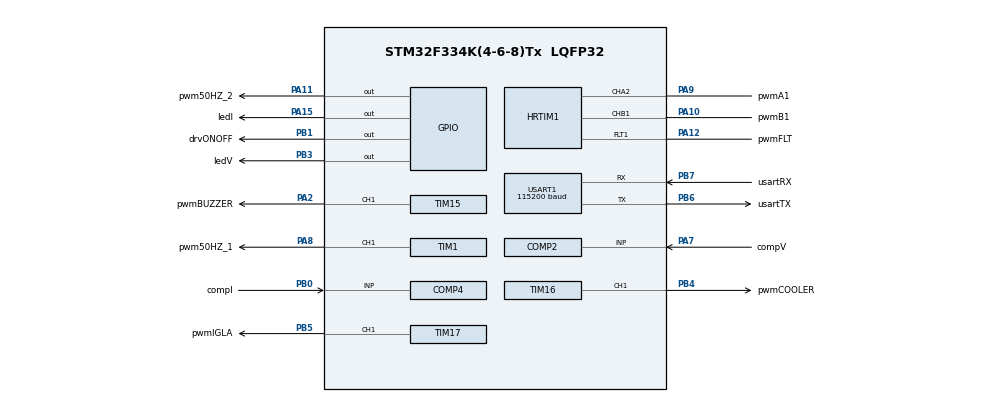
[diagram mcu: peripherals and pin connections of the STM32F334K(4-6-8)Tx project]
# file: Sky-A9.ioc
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COMP2.InvertingInput=COMP_INVERTINGINPUT_DAC1_CH2
COMP4.InvertingInput=COMP_INVERTINGINPUT_DAC1_CH2
DAC1.DAC_Trigger2=DAC_TRIGGER_HRTIM1_DACTRG1
DAC1.WaveGeneration2=DISABLE
DAC2.DAC_Trigger=DAC_TRIGGER_HRTIM1_DACTRG3
Dma.DAC1_CH2.0.Direction=DMA_MEMORY_TO_PERIPH
Dma.DAC1_CH2.0.Instance=DMA1_Channel4
Dma.DAC1_CH2.0.MemDataAlignment=DMA_MDATAALIGN_HALFWORD
Dma.DAC1_CH2.0.MemInc=DMA_MINC_ENABLE
Dma.DAC1_CH2.0.Mode=DMA_CIRCULAR
Dma.DAC1_CH2.0.PeriphDataAlignment=DMA_PDATAALIGN_HALFWORD
Dma.DAC1_CH2.0.PeriphInc=DMA_PINC_DISABLE
Dma.DAC1_CH2.0.Priority=DMA_PRIORITY_HIGH
Dma.DAC2_CH1.1.Direction=DMA_MEMORY_TO_PERIPH
Dma.DAC2_CH1.1.Instance=DMA1_Channel5
Dma.DAC2_CH1.1.MemDataAlignment=DMA_MDATAALIGN_HALFWORD
Dma.DAC2_CH1.1.MemInc=DMA_MINC_ENABLE
Dma.DAC2_CH1.1.Mode=DMA_CIRCULAR
Dma.DAC2_CH1.1.PeriphDataAlignment=DMA_PDATAALIGN_HALFWORD
Dma.DAC2_CH1.1.PeriphInc=DMA_PINC_DISABLE
Dma.DAC2_CH1.1.Priority=DMA_PRIORITY_MEDIUM
Dma.Request0=DAC1_CH2
Dma.Request1=DAC2_CH1
HRTIM1.CaptureUnit1-No_output_TD=HRTIM_CAPTUREUNIT_1
HRTIM1.CaptureUnit1-No_output_TE=HRTIM_CAPTUREUNIT_1
HRTIM1.CaptureUnit2-No_output_TD=__NULL
HRTIM1.CompareUnit1-MasterTimer=HRTIM_COMPAREUNIT_1
HRTIM1.CompareUnit1-No_output_TC=__NULL
HRTIM1.CompareUnit1-No_output_TD=HRTIM_COMPAREUNIT_1
HRTIM1.CompareUnit1-No_output_TE=HRTIM_COMPAREUNIT_1
HRTIM1.CompareUnit1-Output_TA2=HRTIM_COMPAREUNIT_1
HRTIM1.CompareUnit1-Output_TB1=HRTIM_COMPAREUNIT_1
HRTIM1.CompareUnit2-MasterTimer=HRTIM_COMPAREUNIT_2
HRTIM1.CompareUnit2-No_output_TC=HRTIM_COMPAREUNIT_2
HRTIM1.CompareUnit2-No_output_TD=HRTIM_COMPAREUNIT_2
HRTIM1.CompareUnit2-No_output_TE=HRTIM_COMPAREUNIT_2
HRTIM1.CompareUnit2-Output_TA2=HRTIM_COMPAREUNIT_2
HRTIM1.CompareUnit3-MasterTimer=__NULL
HRTIM1.CompareUnit3-No_output_TD=__NULL
HRTIM1.CompareUnit3-Output_TA2=HRTIM_COMPAREUNIT_3
HRTIM1.CompareUnit3-Output_TB1=HRTIM_COMPAREUNIT_3
HRTIM1.CompareUnit4-MasterTimer=__NULL
HRTIM1.CompareUnit4-No_output_TD=HRTIM_COMPAREUNIT_4
HRTIM1.CompareUnit4-No_output_TE=HRTIM_COMPAREUNIT_4
HRTIM1.CompareUnit4-Output_TA2=HRTIM_COMPAREUNIT_4
HRTIM1.CompareUnit4-Output_TB1=HRTIM_COMPAREUNIT_4
HRTIM1.CompareValue1-MasterTimer=23040
HRTIM1.CompareValue1-No_output_TD=9216
HRTIM1.CompareValue1-No_output_TE=9216
HRTIM1.CompareValue1-Output_TA2=4608
HRTIM1.CompareValue1-Output_TB1=4608
HRTIM1.CompareValue2-MasterTimer=46080
HRTIM1.CompareValue2-No_output_TC=2304
HRTIM1.CompareValue2-No_output_TD=13824
HRTIM1.CompareValue2-No_output_TE=13824
HRTIM1.CompareValue2-Output_TA2=23040
HRTIM1.CompareValue3-Output_TA2=5760
HRTIM1.CompareValue3-Output_TB1=5760
HRTIM1.CompareValue4-No_output_TD=18432
HRTIM1.CompareValue4-No_output_TE=18432
HRTIM1.CompareValue4-Output_TA2=23040
HRTIM1.CompareValue4-Output_TB1=23040
HRTIM1.DACSynchro-No_output_TC=HRTIM_DACSYNC_DACTRIGOUT_1
HRTIM1.Event1-Output_TA2=HRTIM_EVENT_1
HRTIM1.Event1-Output_TB1=HRTIM_EVENT_1
HRTIM1.Event2-Output_TA2=HRTIM_EVENT_2
HRTIM1.Event2-Output_TB1=HRTIM_EVENT_2
HRTIM1.Event_EEV1=HRTIM_EVENT_1
HRTIM1.Event_EEV2=HRTIM_EVENT_2
HRTIM1.FastMode_EEV1=HRTIM_EVENTFASTMODE_ENABLE
HRTIM1.FastMode_EEV2=HRTIM_EVENTFASTMODE_ENABLE
HRTIM1.FaultEnable_Source1-No_output_TD=HRTIM_TIMFAULTENABLE_FAULT1
HRTIM1.FaultEnable_Source1-No_output_TE=HRTIM_TIMFAULTENABLE_FAULT1
HRTIM1.FaultEnable_Source1-Output_TA2=HRTIM_TIMFAULTENABLE_FAULT1
HRTIM1.FaultEnable_Source1-Output_TB1=HRTIM_TIMFAULTENABLE_FAULT1
HRTIM1.FaultLevel1-Output_TB1=HRTIM_OUTPUTFAULTLEVEL_INACTIVE
HRTIM1.FaultLevel2-Output_TA2=HRTIM_OUTPUTFAULTLEVEL_INACTIVE
HRTIM1.Filter1-Output_TA2=HRTIM_TIMEVENTFILTER_BLANKINGCMP3
HRTIM1.Filter1-Output_TB1=HRTIM_TIMEVENTFILTER_BLANKINGCMP3
HRTIM1.Filter2-Output_TA2=HRTIM_TIMEVENTFILTER_BLANKINGCMP3
HRTIM1.Filter2-Output_TB1=HRTIM_TIMEVENTFILTER_BLANKINGCMP3
HRTIM1.Filter_FaultLine1=HRTIM_FAULTFILTER_15
HRTIM1.HRTIMInterruptResquests1=HRTIM_IT_FLT1
HRTIM1.HRTIMInterruptResquests2=HRTIM_IT_SYSFLT
HRTIM1.InterruptRequests1-No_output_TD=HRTIM_TIM_IT_REP
HRTIM1.InterruptRequests1-Output_TB1=HRTIM_TIM_IT_CMP4
HRTIM1.InterruptRequests1_Master=HRTIM_MASTER_IT_MREP
HRTIM1.ModeTimeBase-No_output_TC=HRTIM_MODE_SINGLESHOT_RETRIGGERABLE
HRTIM1.ModeTimeBase-No_output_TD=HRTIM_MODE_SINGLESHOT_RETRIGGERABLE
HRTIM1.ModeTimeBase-No_output_TE=HRTIM_MODE_SINGLESHOT_RETRIGGERABLE
HRTIM1.ModeTimeBase-Output_TA2=HRTIM_MODE_SINGLESHOT_RETRIGGERABLE
HRTIM1.ModeTimeBase-Output_TB1=HRTIM_MODE_SINGLESHOT_RETRIGGERABLE
HRTIM1.NumberFaultEnable-No_output_TD=1
HRTIM1.NumberFaultEnable-No_output_TE=1
HRTIM1.NumberFaultEnable-Output_TA2=1
HRTIM1.NumberFaultEnable-Output_TB1=1
HRTIM1.NumberInterruptRequests-No_output_TC=0
HRTIM1.NumberInterruptRequests-No_output_TD=1
HRTIM1.NumberInterruptRequests-Output_TB1=1
HRTIM1.NumberInterruptRequests_Master-MasterTimer=1
HRTIM1.NumberResetSource1-Output_TB1=8
HRTIM1.NumberResetSource2-Output_TA2=8
HRTIM1.NumberResetTrigger-No_output_TC=11
HRTIM1.NumberResetTrigger-No_output_TD=1
HRTIM1.NumberResetTrigger-No_output_TE=1
HRTIM1.NumberResetTrigger-Output_TA2=1
HRTIM1.NumberResetTrigger-Output_TB1=1
HRTIM1.NumberSetSource1-Output_TB1=1
HRTIM1.NumberSetSource2-Output_TA2=1
HRTIM1.NumberTriggerSource_Captureconfig1-No_output_TD=1
HRTIM1.NumberTriggerSource_Captureconfig1-No_output_TE=2
HRTIM1.NumberUpdateTrigger-No_output_TC=1
HRTIM1.NumberUpdateTrigger-No_output_TD=1
HRTIM1.NumberUpdateTrigger-No_output_TE=1
HRTIM1.NumberUpdateTrigger-Output_TA2=1
HRTIM1.NumberUpdateTrigger-Output_TB1=1
HRTIM1.Periode_MASTER=46080
HRTIM1.Periode_TA=23040
HRTIM1.Periode_TB=23040
HRTIM1.Periode_TC=4608
HRTIM1.Periode_TD=46080
HRTIM1.Periode_TE=46080
HRTIM1.PreloadEnable-MasterTimer=HRTIM_PRELOAD_DISABLED
HRTIM1.PreloadEnable-No_output_TC=HRTIM_PRELOAD_ENABLED
HRTIM1.PreloadEnable-No_output_TD=HRTIM_PRELOAD_ENABLED
HRTIM1.PreloadEnable-No_output_TE=HRTIM_PRELOAD_ENABLED
HRTIM1.PrescalerRatio_MASTER=HRTIM_PRESCALERRATIO_MUL16
HRTIM1.PrescalerRatio_TA=HRTIM_PRESCALERRATIO_MUL16
HRTIM1.PrescalerRatio_TB=HRTIM_PRESCALERRATIO_MUL16
HRTIM1.PrescalerRatio_TC=HRTIM_PRESCALERRATIO_MUL16
HRTIM1.PrescalerRatio_TD=HRTIM_PRESCALERRATIO_MUL16
HRTIM1.PrescalerRatio_TE=HRTIM_PRESCALERRATIO_MUL16
HRTIM1.RepetitionCounter-No_output_TC=0
HRTIM1.RepetitionUpdate-MasterTimer=HRTIM_UPDATEONREPETITION_ENABLED
HRTIM1.RepetitionUpdate-No_output_TC=HRTIM_UPDATEONREPETITION_ENABLED
HRTIM1.RepetitionUpdate-No_output_TD=HRTIM_UPDATEONREPETITION_ENABLED
HRTIM1.RepetitionUpdate-No_output_TE=HRTIM_UPDATEONREPETITION_ENABLED
HRTIM1.RepetitionUpdate-Output_TA2=HRTIM_UPDATEONREPETITION_ENABLED
HRTIM1.RepetitionUpdate-Output_TB1=HRTIM_UPDATEONREPETITION_ENABLED
HRTIM1.ResetOutput1_Source1-Output_TB1=HRTIM_OUTPUTRESET_TIMCMP4
HRTIM1.ResetOutput1_Source2-Output_TB1=HRTIM_OUTPUTRESET_TIMPER
HRTIM1.ResetOutput1_Source3-Output_TB1=HRTIM_OUTPUTRESET_UPDATE
HRTIM1.ResetOutput1_Source4-Output_TB1=HRTIM_OUTPUTRESET_MASTERPER
HRTIM1.ResetOutput1_Source5-Output_TB1=HRTIM_OUTPUTRESET_EEV_1
HRTIM1.ResetOutput1_Source6-Output_TB1=HRTIM_OUTPUTRESET_MASTERCMP1
HRTIM1.ResetOutput1_Source7-Output_TB1=HRTIM_OUTPUTRESET_MASTERCMP2
HRTIM1.ResetOutput1_Source8-Output_TB1=HRTIM_OUTPUTRESET_EEV_2
HRTIM1.ResetOutput2_Source1-Output_TA2=HRTIM_OUTPUTRESET_TIMCMP4
HRTIM1.ResetOutput2_Source2-Output_TA2=HRTIM_OUTPUTRESET_TIMPER
HRTIM1.ResetOutput2_Source3-Output_TA2=HRTIM_OUTPUTRESET_UPDATE
HRTIM1.ResetOutput2_Source4-Output_TA2=HRTIM_OUTPUTRESET_MASTERPER
HRTIM1.ResetOutput2_Source5-Output_TA2=HRTIM_OUTPUTRESET_EEV_1
HRTIM1.ResetOutput2_Source6-Output_TA2=HRTIM_OUTPUTRESET_MASTERCMP2
HRTIM1.ResetOutput2_Source7-Output_TA2=HRTIM_OUTPUTRESET_MASTERCMP1
HRTIM1.ResetOutput2_Source8-Output_TA2=HRTIM_OUTPUTRESET_EEV_2
HRTIM1.ResetTrigger1-No_output_TC=HRTIM_TIMRESETTRIGGER_OTHER3_CMP1
HRTIM1.ResetTrigger1-No_output_TD=HRTIM_TIMRESETTRIGGER_MASTER_PER
HRTIM1.ResetTrigger1-No_output_TE=HRTIM_TIMRESETTRIGGER_MASTER_CMP1
HRTIM1.ResetTrigger1-Output_TA2=HRTIM_TIMRESETTRIGGER_MASTER_CMP1
HRTIM1.ResetTrigger1-Output_TB1=HRTIM_TIMRESETTRIGGER_MASTER_PER
HRTIM1.ResetTrigger10-No_output_TC=HRTIM_TIMRESETTRIGGER_OTHER4_CMP4
HRTIM1.ResetTrigger11-No_output_TC=HRTIM_TIMRESETTRIGGER_CMP2
HRTIM1.ResetTrigger2-No_output_TC=HRTIM_TIMRESETTRIGGER_OTHER3_CMP2
HRTIM1.ResetTrigger3-No_output_TC=HRTIM_TIMRESETTRIGGER_OTHER3_CMP4
HRTIM1.ResetTrigger4-No_output_TC=HRTIM_TIMRESETTRIGGER_OTHER2_CMP1
HRTIM1.ResetTrigger5-No_output_TC=HRTIM_TIMRESETTRIGGER_OTHER2_CMP4
HRTIM1.ResetTrigger6-No_output_TC=HRTIM_TIMRESETTRIGGER_OTHER1_CMP1
HRTIM1.ResetTrigger7-No_output_TC=HRTIM_TIMRESETTRIGGER_OTHER1_CMP4
HRTIM1.ResetTrigger8-No_output_TC=HRTIM_TIMRESETTRIGGER_OTHER4_CMP1
HRTIM1.ResetTrigger9-No_output_TC=HRTIM_TIMRESETTRIGGER_OTHER4_CMP2
HRTIM1.ResetUpdate-No_output_TC=HRTIM_TIMUPDATEONRESET_ENABLED
HRTIM1.ResetUpdate-No_output_TD=HRTIM_TIMUPDATEONRESET_ENABLED
HRTIM1.ResetUpdate-No_output_TE=HRTIM_TIMUPDATEONRESET_ENABLED
HRTIM1.ResetUpdate-Output_TA2=HRTIM_TIMUPDATEONRESET_ENABLED
HRTIM1.ResetUpdate-Output_TB1=HRTIM_TIMUPDATEONRESET_ENABLED
HRTIM1.SetOutput1_Source1-Output_TB1=HRTIM_OUTPUTSET_TIMCMP1
HRTIM1.SetOutput2_Source1-Output_TA2=HRTIM_OUTPUTSET_TIMCMP1
HRTIM1.TriggerCapture1_Source1-No_output_TD=HRTIM_CAPTURETRIGGER_TB1_RESET
HRTIM1.TriggerCapture1_Source1-No_output_TE=HRTIM_CAPTURETRIGGER_EEV_1
HRTIM1.TriggerCapture1_Source2-No_output_TD=HRTIM_CAPTURETRIGGER_NONE
HRTIM1.TriggerCapture1_Source2-No_output_TE=HRTIM_CAPTURETRIGGER_TIMERA_CMP2
HRTIM1.UpdateTrigger1-No_output_TC=HRTIM_TIMUPDATETRIGGER_TIMER_C
HRTIM1.UpdateTrigger1-No_output_TD=HRTIM_TIMUPDATETRIGGER_MASTER
HRTIM1.UpdateTrigger1-No_output_TE=HRTIM_TIMUPDATETRIGGER_MASTER
HRTIM1.UpdateTrigger1-Output_TA2=HRTIM_TIMUPDATETRIGGER_MASTER
HRTIM1.UpdateTrigger1-Output_TB1=HRTIM_TIMUPDATETRIGGER_MASTER
IWDG.Prescaler=IWDG_PRESCALER_256
Mcu.Family=STM32F3
Mcu.Name=STM32F334K(4-6-8)Tx
Mcu.Package=LQFP32
NVIC.DMA1_Channel4_IRQn=true\:4\:0\:true\:true\:true\:4\:false\:true
NVIC.DMA1_Channel5_IRQn=true\:4\:0\:true\:true\:true\:5\:false\:true
NVIC.HRTIM1_FLT_IRQn=true\:6\:0\:true\:true\:true\:2\:true\:true
NVIC.HRTIM1_Master_IRQn=true\:3\:0\:true\:true\:true\:1\:true\:true
NVIC.HRTIM1_TIMB_IRQn=true\:2\:0\:true\:true\:true\:8\:true\:true
NVIC.HRTIM1_TIMD_IRQn=true\:2\:0\:true\:true\:true\:9\:true\:true
NVIC.PVD_IRQn=true\:13\:0\:true\:true\:true\:7\:true\:true
NVIC.PriorityGroup=NVIC_PRIORITYGROUP_4
NVIC.USART1_IRQn=true\:14\:0\:true\:true\:true\:6\:true\:true
PA10.GPIO_Label=pwmB1
PA10.Mode=Output_TB1
PA10.Signal=HRTIM1_CHB1
PA11.GPIO_Label=pwm50HZ_2
PA11.GPIO_Speed=GPIO_SPEED_FREQ_HIGH
PA11.Signal=GPIO_Output
PA12.GPIO_Label=pwmFLT
PA12.Mode=Fault_Enable1
PA12.Signal=HRTIM1_FLT1
PA13.GPIO_Label=sysDIO
PA13.Mode=Serial_Wire
PA13.Signal=SYS_JTMS-SWDIO
PA14.GPIO_Label=sysCLK
PA14.Mode=Serial_Wire
PA14.Signal=SYS_JTCK-SWCLK
PA15.GPIO_Label=ledI
PA15.GPIO_Speed=GPIO_SPEED_FREQ_HIGH
PA15.Signal=GPIO_Output
PA2.GPIO_Label=pwmBUZZER
PA2.GPIO_Speed=GPIO_SPEED_FREQ_HIGH
PA2.Signal=S_TIM15_CH1
PA7.GPIO_Label=compV
PA7.Mode=INP
PA7.Signal=COMP2_INP
PA8.GPIO_Label=pwm50HZ_1
PA8.GPIO_Speed=GPIO_SPEED_FREQ_HIGH
PA8.Signal=S_TIM1_CH1
PA9.GPIO_Label=pwmA1
PA9.Mode=Output_TA2
PA9.Signal=HRTIM1_CHA2
PB0.GPIO_Label=compI
PB0.Mode=INP
PB0.Signal=COMP4_INP
PB1.GPIO_Label=drvONOFF
PB1.GPIO_Speed=GPIO_SPEED_FREQ_HIGH
PB1.PinState=GPIO_PIN_SET
PB1.Signal=GPIO_Output
PB3.GPIO_Label=ledV
PB3.GPIO_Speed=GPIO_SPEED_FREQ_HIGH
PB3.Signal=GPIO_Output
PB4.GPIO_Label=pwmCOOLER
PB4.GPIO_Speed=GPIO_SPEED_FREQ_HIGH
PB4.Signal=S_TIM16_CH1
PB5.GPIO_Label=pwmIGLA
PB5.GPIO_Speed=GPIO_SPEED_FREQ_HIGH
PB5.Signal=S_TIM17_CH1
PB6.GPIO_FM6=SYSCFG_CFGR1_I2C_PB6_FMP
PB6.GPIO_Label=usartTX
PB6.Mode=Asynchronous
PB6.Signal=USART1_TX
PB7.GPIO_FM7=SYSCFG_CFGR1_I2C_PB7_FMP
PB7.GPIO_Label=usartRX
PB7.Mode=Asynchronous
PB7.Signal=USART1_RX
PF0\ /\ OSC_IN.GPIO_Label=sysPF0
PF0\ /\ OSC_IN.Mode=HSE-External-Oscillator
PF0\ /\ OSC_IN.Signal=RCC_OSC_IN
PF1\ /\ OSC_OUT.GPIO_Label=sysPF1
PF1\ /\ OSC_OUT.Mode=HSE-External-Oscillator
PF1\ /\ OSC_OUT.Signal=RCC_OSC_OUT
ProjectManager.HeapSize=0x200
ProjectManager.StackSize=0x400
ProjectManager.TargetToolchain=STM32CubeIDE
RCC.AHBFreq_Value=72000000
RCC.APB1CLKDivider=RCC_HCLK_DIV2
RCC.APB1Freq_Value=36000000
RCC.APB1TimFreq_Value=72000000
RCC.APB2Freq_Value=72000000
RCC.APB2TimFreq_Value=72000000
RCC.CortexFreq_Value=72000000
RCC.HCLKFreq_Value=72000000
RCC.HRTIMSelection=RCC_HRTIM1CLK_PLLCLK
RCC.HSE_VALUE=12000000
RCC.HSI_VALUE=8000000
RCC.PLLMUL=RCC_PLL_MUL6
RCC.PLLSourceVirtual=RCC_PLLSOURCE_HSE
RCC.SYSCLKFreq_VALUE=72000000
RCC.SYSCLKSourceVirtual=RCC_SYSCLKSOURCE_PLLCLK
RCC.TIM1Selection=RCC_TIM1CLK_PLLCLK
RCC.Usart1ClockSelection=RCC_USART1CLKSOURCE_SYSCLK
SH.S_TIM15_CH1.0=TIM15_CH1,PWM Generation1 CH1
SH.S_TIM16_CH1.0=TIM16_CH1,PWM Generation1 CH1
SH.S_TIM17_CH1.0=TIM17_CH1,PWM Generation1 CH1
SH.S_TIM1_CH1.0=TIM1_CH1,PWM Generation1 CH1
TIM1.AutoReloadPreload=TIM_AUTORELOAD_PRELOAD_ENABLE
TIM1.Channel-PWM\ Generation1\ CH1=TIM_CHANNEL_1
TIM1.OCFastMode_PWM-PWM\ Generation1\ CH1=TIM_OCFAST_ENABLE
TIM1.Period=2879
TIM15.AutoReloadPreload=TIM_AUTORELOAD_PRELOAD_ENABLE
TIM15.Channel-PWM\ Generation1\ CH1=TIM_CHANNEL_1
TIM15.OCFastMode_PWM-PWM\ Generation1\ CH1=TIM_OCFAST_ENABLE
TIM15.Period=63999
TIM15.Prescaler=2249
TIM16.AutoReloadPreload=TIM_AUTORELOAD_PRELOAD_ENABLE
TIM16.Channel=TIM_CHANNEL_1
TIM16.OCFastMode_PWM=TIM_OCFAST_ENABLE
TIM16.Period=14399
TIM17.AutoReloadPreload=TIM_AUTORELOAD_PRELOAD_ENABLE
TIM17.Channel=TIM_CHANNEL_1
TIM17.OCFastMode_PWM=TIM_OCFAST_ENABLE
TIM17.Period=9374
USART1.AutoBaudRateEnableParam=UART_ADVFEATURE_AUTOBAUDRATE_ENABLE
USART1.BaudRate=115200
USART1.VirtualMode-Asynchronous=VM_ASYNC
VP_COMP2_VS_DAC1OUT2.Mode=INM_DAC1OUT2
VP_COMP4_VS_DAC1OUT2.Mode=INM_DAC1OUT2
VP_DAC1_Switcher_Out2.Mode=Switch_Disable_OUT2
VP_DAC2_Switcher_Out1.Mode=Switch_Disable_OUT1
VP_HRTIM1_VS_hrtimMasterTimerNoOutput.Mode=MasterTimer
VP_HRTIM1_VS_hrtimTimerCNoOutput.Mode=No_output_TC
VP_HRTIM1_VS_hrtimTimerDNoOutput.Mode=No_output_TD
VP_HRTIM1_VS_hrtimTimerENoOutput.Mode=No_output_TE
VP_IWDG_VS_IWDG.Mode=IWDG_Activate
VP_TIM15_VS_ClockSourceINT.Mode=Internal
VP_TIM16_VS_ClockSourceINT.Mode=Enable_Timer
VP_TIM17_VS_ClockSourceINT.Mode=Enable_Timer
VP_TIM1_VS_ClockSourceINT.Mode=Internal
board=custom

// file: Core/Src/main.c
/* USER CODE BEGIN Header */
/**
  ******************************************************************************
  * @file           : main.c
  * @brief          : Main program body
  ******************************************************************************
  * @attention
  *
  * <h2><center>&copy; Copyright (c) 2020 STMicroelectronics.
  * All rights reserved.</center></h2>
  *
  * This software component is licensed by ST under BSD 3-Clause license,
  * the "License"; You may not use this file except in compliance with the
  * License. You may obtain a copy of the License at:
  *                        opensource.org/licenses/BSD-3-Clause
  *
  ******************************************************************************
  */
/* USER CODE END Header */
#include "main.h"
#include "comp.h"
#include "dac.h"
#include "dma.h"
#include "hrtim.h"
#include "iwdg.h"
#include "tim.h"
#include "usart.h"
#include "gpio.h"

void SystemClock_Config(void);
static void MX_NVIC_Init(void);

int main(void)
{

  /* MCU Configuration--------------------------------------------------------*/

  /* Reset of all peripherals, Initializes the Flash interface and the Systick. */

  LL_APB2_GRP1_EnableClock(LL_APB2_GRP1_PERIPH_SYSCFG);
  LL_APB1_GRP1_EnableClock(LL_APB1_GRP1_PERIPH_PWR);

  NVIC_SetPriorityGrouping(NVIC_PRIORITYGROUP_4);

  /* System interrupt init*/
  /* SysTick_IRQn interrupt configuration */
  NVIC_SetPriority(SysTick_IRQn, NVIC_EncodePriority(NVIC_GetPriorityGrouping(),15, 0));

  /* Peripheral interrupt init*/

  /* Configure the system clock */
  SystemClock_Config();

  /* Initialize all configured peripherals */
  MX_GPIO_Init();
  MX_DMA_Init();
  MX_HRTIM1_Init();
  MX_USART1_UART_Init();
  MX_IWDG_Init();
  MX_TIM15_Init();
  MX_TIM16_Init();
  MX_TIM17_Init();
  MX_DAC1_Init();
  MX_DAC2_Init();
  MX_COMP2_Init();
  MX_COMP4_Init();
  MX_TIM1_Init();

  /* Initialize interrupts */
  MX_NVIC_Init();
  /* USER CODE BEGIN 2 */

  /*******************************************************************/
   //Disable Systick
   /*******************************************************************/

 	  LL_SYSTICK_DisableIT();

   /*******************************************************************/
   //Enable Buzzer
   /*******************************************************************/

 	  LL_TIM_CC_EnableChannel(TIM15, LL_TIM_CHANNEL_CH1);
 	  LL_TIM_EnableCounter(TIM15);
 	  LL_TIM_OC_SetCompareCH1(TIM15,0);
 	  LL_TIM_EnableAllOutputs(TIM15);

   /*******************************************************************/
   //Enable IGLA
   /*******************************************************************/

 	  LL_TIM_CC_EnableChannel(TIM17, LL_TIM_CHANNEL_CH1);
 	  LL_TIM_EnableCounter(TIM17);
 	  LL_TIM_OC_SetCompareCH1(TIM17,4687); //50%
 	  LL_TIM_EnableAllOutputs(TIM17);

   /*******************************************************************/
   //Enable IGLA
   /*******************************************************************/

   LL_TIM_CC_EnableChannel(TIM1, LL_TIM_CHANNEL_CH1 | LL_TIM_CHANNEL_CH3);
   LL_TIM_EnableCounter(TIM1);
   LL_TIM_OC_SetCompareCH1(TIM1,0); //off
   LL_TIM_EnableAllOutputs(TIM1);

   /*******************************************************************/
   //Enable Cooler
   /*******************************************************************/

 	  LL_TIM_CC_EnableChannel(TIM16, LL_TIM_CHANNEL_CH1);
 	  LL_TIM_EnableCounter(TIM16);
 	  LL_TIM_OC_SetCompareCH1(TIM16,7200); //50%
 	  LL_TIM_EnableAllOutputs(TIM16);

   /*******************************************************************/
   //Enable DACs
   /*******************************************************************/

 	  LL_DMA_ConfigAddresses(DMA1,
 	                         LL_DMA_CHANNEL_4,
 	                         (uint32_t)&SlopeV,
 	                         LL_DAC_DMA_GetRegAddr(DAC1, LL_DAC_CHANNEL_2, LL_DAC_DMA_REG_DATA_12BITS_RIGHT_ALIGNED),
 	                         LL_DMA_DIRECTION_MEMORY_TO_PERIPH);

 	  LL_DMA_SetDataLength(DMA1,
 	                       LL_DMA_CHANNEL_4,
 						   SLOPE_RESOLUTION);

 	  LL_DMA_EnableChannel(DMA1,
 	                       LL_DMA_CHANNEL_4);

 	  LL_DAC_EnableDMAReq(DAC1, LL_DAC_CHANNEL_2);

 	  LL_DAC_Enable(DAC1, LL_DAC_CHANNEL_2);

 	  LL_DAC_EnableTrigger(DAC1, LL_DAC_CHANNEL_2);

   /*******************************************************************/
   //Enable COMP2 and COMP4
   /*******************************************************************/

 	  LL_COMP_Enable(COMP2);
 	  LL_COMP_Enable(COMP4);

   /*******************************************************************/
   //Unblock Driver
   /*******************************************************************/

   LL_GPIO_ResetOutputPin(drvONOFF_GPIO_Port, drvONOFF_Pin);

   /*******************************************************************/
   //Sky Init
   /*******************************************************************/

   ResetSlope();
   Start_Sky_IT();

  /* USER CODE END 2 */

  /* Infinite loop */
  /* USER CODE BEGIN WHILE */
   while (1)
   {
	   asm("NOP");
	   LL_IWDG_ReloadCounter(IWDG);

 	  if (READ_BIT(HRTIM1->sCommonRegs.ISR, HRTIM_ISR_FLT1) == (HRTIM_ISR_FLT1)) {
 		  SET_BIT(HRTIM1->sCommonRegs.ICR, HRTIM_ICR_FLT1C);
 	  } else {
 		  if (FLT_Flag==true) {
 			  FLT_Flag=false;

 			  //RefV=Sinus_V[0];
 			  //RefI=Sinus_I[0];

 			  HRTIM1->sTimerxRegs[0].CMP4xR=4608;
 			  HRTIM1->sTimerxRegs[1].CMP4xR=4608;

 			  RefV=1500;
 			  RefI=1500;

 			  Duty.Index=0;

 			  PerformDACs();

 			  Start_Sky();
 		  }
 	  }
    /* USER CODE END WHILE */

 	   }
}

void SystemClock_Config(void)
{
  LL_FLASH_SetLatency(LL_FLASH_LATENCY_2);
  while(LL_FLASH_GetLatency()!= LL_FLASH_LATENCY_2)
  {
  }
  LL_RCC_HSE_Enable();

   /* Wait till HSE is ready */
  while(LL_RCC_HSE_IsReady() != 1)
  {

  }
  LL_RCC_LSI_Enable();

   /* Wait till LSI is ready */
  while(LL_RCC_LSI_IsReady() != 1)
  {

  }
  LL_RCC_PLL_ConfigDomain_SYS(LL_RCC_PLLSOURCE_HSE_DIV_1, LL_RCC_PLL_MUL_6);
  LL_RCC_PLL_Enable();

   /* Wait till PLL is ready */
  while(LL_RCC_PLL_IsReady() != 1)
  {

  }
  LL_RCC_SetAHBPrescaler(LL_RCC_SYSCLK_DIV_1);
  LL_RCC_SetAPB1Prescaler(LL_RCC_APB1_DIV_2);
  LL_RCC_SetAPB2Prescaler(LL_RCC_APB1_DIV_1);
  LL_RCC_SetSysClkSource(LL_RCC_SYS_CLKSOURCE_PLL);

   /* Wait till System clock is ready */
  while(LL_RCC_GetSysClkSource() != LL_RCC_SYS_CLKSOURCE_STATUS_PLL)
  {

  }
  LL_Init1msTick(72000000);
  LL_SetSystemCoreClock(72000000);
  LL_RCC_SetUSARTClockSource(LL_RCC_USART1_CLKSOURCE_SYSCLK);
  LL_RCC_SetTIMClockSource(LL_RCC_TIM1_CLKSOURCE_PLL);
  LL_RCC_SetHRTIMClockSource(RCC_CFGR3_HRTIM1SW_PLL);
}

/**
  * @brief NVIC Configuration.
  * @retval None
  */
static void MX_NVIC_Init(void)
{
  /* HRTIM1_Master_IRQn interrupt configuration */
  NVIC_SetPriority(HRTIM1_Master_IRQn, NVIC_EncodePriority(NVIC_GetPriorityGrouping(),3, 0));
  NVIC_EnableIRQ(HRTIM1_Master_IRQn);
  /* HRTIM1_FLT_IRQn interrupt configuration */
  NVIC_SetPriority(HRTIM1_FLT_IRQn, NVIC_EncodePriority(NVIC_GetPriorityGrouping(),6, 0));
  NVIC_EnableIRQ(HRTIM1_FLT_IRQn);
  /* DMA1_Channel4_IRQn interrupt configuration */
  NVIC_SetPriority(DMA1_Channel4_IRQn, NVIC_EncodePriority(NVIC_GetPriorityGrouping(),4, 0));
  NVIC_EnableIRQ(DMA1_Channel4_IRQn);
  /* DMA1_Channel5_IRQn interrupt configuration */
  NVIC_SetPriority(DMA1_Channel5_IRQn, NVIC_EncodePriority(NVIC_GetPriorityGrouping(),4, 0));
  NVIC_EnableIRQ(DMA1_Channel5_IRQn);
  /* USART1_IRQn interrupt configuration */
  NVIC_SetPriority(USART1_IRQn, NVIC_EncodePriority(NVIC_GetPriorityGrouping(),14, 0));
  NVIC_EnableIRQ(USART1_IRQn);
  /* PVD_IRQn interrupt configuration */
  NVIC_SetPriority(PVD_IRQn, NVIC_EncodePriority(NVIC_GetPriorityGrouping(),13, 0));
  NVIC_EnableIRQ(PVD_IRQn);
  /* HRTIM1_TIMB_IRQn interrupt configuration */
  NVIC_SetPriority(HRTIM1_TIMB_IRQn, NVIC_EncodePriority(NVIC_GetPriorityGrouping(),2, 0));
  NVIC_EnableIRQ(HRTIM1_TIMB_IRQn);
  /* HRTIM1_TIMD_IRQn interrupt configuration */
  NVIC_SetPriority(HRTIM1_TIMD_IRQn, NVIC_EncodePriority(NVIC_GetPriorityGrouping(),2, 0));
  NVIC_EnableIRQ(HRTIM1_TIMD_IRQn);
}

void Error_Handler(void)
{
}

/************************ (C) COPYRIGHT STMicroelectronics *****END OF FILE****/
